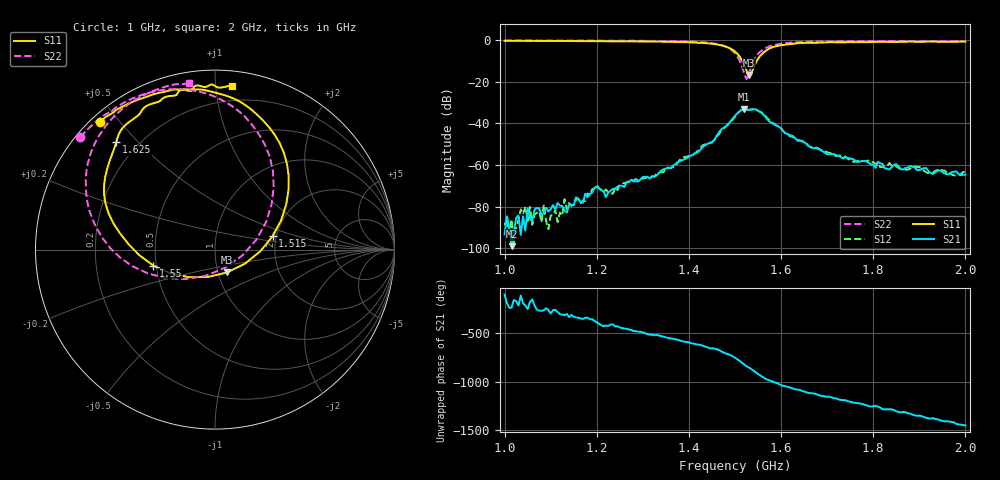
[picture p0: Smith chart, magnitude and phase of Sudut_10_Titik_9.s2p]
# Hz S RI R 50
! CMT, C1220, 16058040, 17.2.0/1
! Date: 14/08/2018 11:54:14
! Data: Format (Calibration Info)
! Freq  S11: Re/Im (F2)  S21: Re/Im (F2)  S12: Re/Im (F2)  S22: Re/Im (F2)
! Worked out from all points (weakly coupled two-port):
!   201 points, 1 GHz to 2 GHz, reference 50 ohm
!   highest |S21| = -33.07 dB at 1.52 GHz (marker M1); lowest = -99.0 dB at 1.015 GHz (marker M2)
!   lowest |S11| = -16.8 dB at 1.53 GHz (marker M3), VSWR 1.34, Z = 55.3 - j14.4 ohm
!   |S11| at or under -10 dB: 1.516 GHz to 1.547 GHz (31.75 MHz wide, 2.07 % of centre)
!   |S22| runs from -18.8 to -0.2 dB; largest |S21 - S12| = 0.00093
!   S11 on the Smith chart (normalised r, x): 1 GHz: 0.03, +0.44; 1.515 GHz: 1.91, +0.32; 1.55 GHz: 0.48, -0.10; 1.625 GHz: 0.12, +0.43; 2 GHz: 0.10, +1.10
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1e9  -0.6426 0.7097  -3.88e-06 -2.12e-05  -3.22e-05 1.47e-05  -0.75 0.6268
1.015e9  -0.625 0.7232  -6.32e-06 9.34e-06  -4.87e-05 -9.17e-06  -0.7395 0.6384
1.17e9  -0.4706 0.8188  0.000123 1.62e-05  0.000126 6.81e-05  -0.6124 0.7519
1.175e9  -0.4622 0.8223  0.000191 7.05e-05  0.000134 2.01e-05  -0.6066 0.7553
1.2e9  -0.4278 0.835  0.000273 -0.000137  0.000285 -0.000168  -0.5783 0.7654
1.22e9  -0.4083 0.8417  8.51e-05 -0.000147  0.000119 -0.000234  -0.5673 0.7789
1.235e9  -0.3805 0.8511  0.00018 -0.000196  6.05e-05 -0.000193  -0.5505 0.793
1.255e9  -0.3461 0.8644  1.93e-05 -0.000316  3.81e-05 -0.000364  -0.5246 0.8089
1.335e9  -0.2132 0.8921  -0.000615 -0.000187  -0.000662 -8.97e-05  -0.3958 0.8659
1.45e9  0.1835 0.7948  0.00152 0.00309  0.00179 0.00305  0.0274 0.8387
1.5e9  0.4099 0.3358  0.0129 -0.00791  0.0121 -0.00745  0.3268 0.3506
1.515e9  0.3204 0.0738  0.00255 -0.021  0.00312 -0.021  0.2301 0.055
1.52e9  0.2525 -0.00924  -0.00459 -0.0217  -0.00439 -0.022  0.1526 -0.0325
1.53e9  0.0676 -0.1272  -0.0146 -0.015  -0.0147 -0.0151  -0.0529 -0.1463
1.55e9  -0.3432 -0.0893  -0.0188 0.00702  -0.0191 0.00629  -0.4583 -0.0936
1.58e9  -0.6105 0.2583  0.000713 0.0101  0.0012 0.0105  -0.7002 0.2184
1.625e9  -0.5502 0.5977  0.00491 0.00102  0.00461 0.00108  -0.6969 0.522
1.67e9  -0.4383 0.7398  0.00193 -0.00165  0.00205 -0.00178  -0.6202 0.6738
1.755e9  -0.2793 0.8491  -0.000951 -0.00102  -0.000833 -0.000888  -0.4834 0.8086
1.835e9  -0.1439 0.8841  -0.000712 0.000325  -0.00107 0.000351  -0.3702 0.8732
1.925e9  -0.0227 0.9195  0.000311 0.000557  0.00026 0.000562  -0.2447 0.9163
2e9  0.0942 0.9102  0.000576 -0.000114  0.000684 -9.72e-05  -0.1469 0.9309
